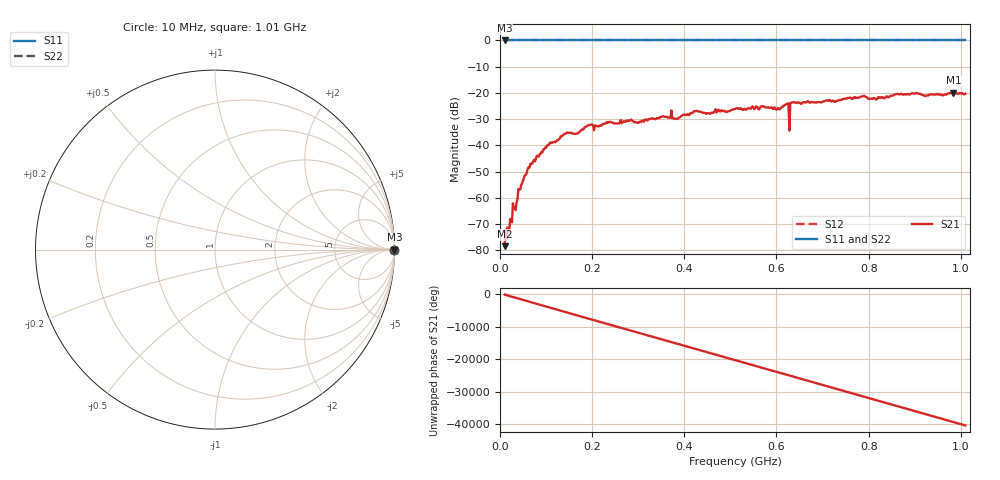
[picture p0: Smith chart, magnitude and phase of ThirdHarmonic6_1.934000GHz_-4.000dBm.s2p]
! 8/16/2025 11:18:11 PM
! C:\ANRITSUVNA\TEMP\TEMP.S2P
! CHANNEL.1
! TR.MEASUREMENT
! RAW.DATA
! RF.CORRECTION.OFF
! AVERAGING.OFF
! IF.BANDWIDTH: 5KHZ
! SWEEPTYPE:  FREQ.SWEEP(Linear)
! Reference Plane Port Info
! PORT:  PORT1  PORT2
! DISTANCE:  0  m  0  m
! TIME:  0  s  0  s
! PHASE.OFFSET:  0  deg.  0  deg.
! LOSS:  0  dB  0  dB
! REF.LOSS:  0  dB  0  dB
! REF.FREQ:  0  Hz  0  Hz
! Power Info
! POWER:  -20  dBm  -20  dBm
! EFF.POWER:  -20  dBm  -20  dBm
! SOURCE.ATTEN:  0  dB  0  dB
! TEST.ATTEN:  0  dB  0  dB
# GHZ S RI R 50.0
! FREQ.GHZ  S11RE  S11IM  S21RE  S21IM  S12RE  S12IM  S22RE  S22IM
!; PortSelection: Port_12
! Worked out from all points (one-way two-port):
!   501 points, 10 MHz to 1.01 GHz, reference 50 ohm
!   highest |S21| = -19.92 dB at 984 MHz (marker M1); lowest = -78.4 dB at 10 MHz (marker M2)
!   lowest |S11| = 0.0 dB at 10 MHz (marker M3)
!   |S11| at or under -10 dB: nowhere
!   |S22| runs from 0.0 to 0.0 dB; largest |S21 - S12| = 1.1
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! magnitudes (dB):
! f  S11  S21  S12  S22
! 10 MHz  0.0  -78.4  0.0  0.0
! 44 MHz  0.0  -56.7  0.0  0.0
! 64 MHz  0.0  -48.4  0.0  0.0
! 106 MHz  0.0  -39.8  0.0  0.0
! 142 MHz  0.0  -35.5  0.0  0.0
! 178 MHz  0.0  -33.9  0.0  0.0
! 196 MHz  0.0  -32.1  0.0  0.0
! 344 MHz  0.0  -29.7  0.0  0.0
! 382 MHz  0.0  -29.8  0.0  0.0
! 424 MHz  0.0  -27.0  0.0  0.0
! 452 MHz  0.0  -27.7  0.0  0.0
! 510 MHz  0.0  -26.1  0.0  0.0
! 570 MHz  0.0  -25.0  0.0  0.0
! 604 MHz  0.0  -25.7  0.0  0.0
! 622 MHz  0.0  -24.3  0.0  0.0
! 624 MHz  0.0  -24.0  0.0  0.0
! 632 MHz  0.0  -23.7  0.0  0.0
! 634 MHz  0.0  -23.5  0.0  0.0
! 678 MHz  0.0  -23.5  0.0  0.0
! 844 MHz  0.0  -21.6  0.0  0.0
! 984 MHz  0.0  -19.9  0.0  0.0
! 1.01 GHz  0.0  -20.3  0.0  0.0
